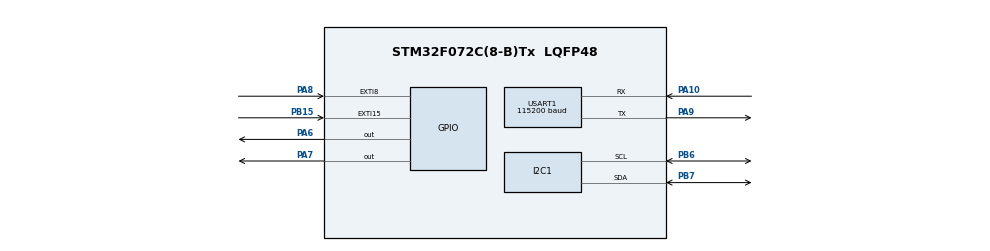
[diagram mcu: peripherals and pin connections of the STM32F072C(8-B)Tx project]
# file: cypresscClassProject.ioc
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I2C1.Timing=0x00201D2B
Mcu.Family=STM32F0
Mcu.Name=STM32F072C(8-B)Tx
Mcu.Package=LQFP48
NVIC.EXTI4_15_IRQn=true\:0\:0\:false\:false\:true\:true\:true\:true
NVIC.TIM2_IRQn=true\:0\:0\:false\:false\:true\:true\:true\:true
NVIC.USART1_IRQn=true\:0\:0\:false\:false\:true\:true\:true\:true
PA10.Mode=Asynchronous
PA10.Signal=USART1_RX
PA6.Signal=GPIO_Output
PA7.Signal=GPIO_Output
PA8.Signal=GPXTI8
PA9.Mode=Asynchronous
PA9.Signal=USART1_TX
PB15.Signal=GPXTI15
PB6.Mode=I2C
PB6.Signal=I2C1_SCL
PB7.Mode=I2C
PB7.Signal=I2C1_SDA
ProjectManager.HeapSize=0x200
ProjectManager.StackSize=0x400
ProjectManager.TargetToolchain=Makefile
TIM2.Period=500
TIM2.Prescaler=2000-1
USART1.BaudRate=115200
USART1.VirtualMode-Asynchronous=VM_ASYNC
VP_TIM2_VS_ClockSourceINT.Mode=Internal
board=custom

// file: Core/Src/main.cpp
/* USER CODE BEGIN Header */
/**
 ******************************************************************************
 * @file           : main.c
 * @brief          : Main program body
 ******************************************************************************
 * @attention
 *
 * Copyright (c) 2024 STMicroelectronics.
 * All rights reserved.
 *
 * This software is licensed under terms that can be found in the LICENSE file
 * in the root directory of this software component.
 * If no LICENSE file comes with this software, it is provided AS-IS.
 *
 ******************************************************************************
 */
/* USER CODE END Header */
#include "main.h"
#include "i2c.h"
#include "tim.h"
#include "usart.h"
#include "gpio.h"

/* USER CODE BEGIN Includes */
#include <stdio.h>
#include <stdlib.h>
#include <string.h>

// Redirect output
#define REDIRECT_OUTPUT
#include "rom.h"
#include "settings.h"
#include "gpioPlus.h"
#include "event.h"

/* USER CODE END Includes */

/* USER CODE BEGIN PV */
AT24C08C eeprom(&hi2c1, 0x50); // EEPROM

#define RX_BUFFER_SIZE 256                 // Ring buffer size
volatile uint8_t rxBuffer[RX_BUFFER_SIZE]; // Circular buffer
volatile uint16_t rxHead = 0;              // Write pointer
volatile uint16_t rxTail = 0;              // Read pointer

volatile bool dataReceivedFlag = false; // Data reception flag

Gpio led5(GPIOA, GPIO_PIN_6), // PA6
    led6(GPIOA, GPIO_PIN_7);  // PA7

volatile uint8_t mode = 0;
uint8_t lastMode = 0;

extern "C"
{
  /// @brief 100ms callback
  extern Event<> milliseconds_100;
}

/* USER CODE END PV */

void SystemClock_Config(void);
/* USER CODE BEGIN PFP */
void StartUARTReceive();
void ProcessReceivedData(uint8_t data);
/* USER CODE END PFP */

/* USER CODE BEGIN 0 */
void ledclear()
{
  led5.off();
  led6.off();
}

void ledModeSwitch(uint8_t mode)
{
  ledclear();
  // printf("模式切换: %d\n", mode);
  switch (mode)
  {
  case 1:
    led5.on();
    milliseconds_100.registerCallback([]()
                                      {
      led5.toggle();
      led6.toggle(); });
    break;
  case 2:
    milliseconds_100.registerCallback([]()
                                      {
      led5.toggle();
      led6.toggle(); });
    break;

  default:
    printf("The model does not exist\n");
    ledclear();
    return;
    break;
  }
  printf("Mode%d activated\n", mode);
}
/* USER CODE END 0 */

int main(void)
{

  /* MCU Configuration--------------------------------------------------------*/

  /* Reset of all peripherals, Initializes the Flash interface and the Systick. */
  HAL_Init();

  /* Configure the system clock */
  SystemClock_Config();

  /* Initialize all configured peripherals */
  MX_GPIO_Init();
  MX_I2C1_Init();
  MX_USART1_UART_Init();
  MX_TIM2_Init();
  /* USER CODE BEGIN 2 */
  StartUARTReceive();
  HAL_TIM_Base_Start_IT(&htim2);
  /* USER CODE END 2 */

  /* Infinite loop */
  /* USER CODE BEGIN WHILE */
  ledclear();
  printf("Initialization complete\n");
  while (1)
  {
    /* USER CODE END WHILE */

    /* USER CODE BEGIN 3 */

    // Serial port data processing
    if (dataReceivedFlag)
    {
      dataReceivedFlag = false;
      // Processing the received data
      while (rxTail != rxHead)
      {
        uint8_t data = rxBuffer[rxTail];
        rxTail = (rxTail + 1) % RX_BUFFER_SIZE;
        ProcessReceivedData(data);
      }
    }

    //LED mode switching
    if (lastMode != mode)
    {
      ledModeSwitch(mode);
      lastMode = mode;
    }
  }
  /* USER CODE END 3 */
}

void SystemClock_Config(void)
{
  RCC_OscInitTypeDef RCC_OscInitStruct = {0};
  RCC_ClkInitTypeDef RCC_ClkInitStruct = {0};
  RCC_PeriphCLKInitTypeDef PeriphClkInit = {0};

  /** Initializes the RCC Oscillators according to the specified parameters
   * in the RCC_OscInitTypeDef structure.
   */
  RCC_OscInitStruct.OscillatorType = RCC_OSCILLATORTYPE_HSI;
  RCC_OscInitStruct.HSIState = RCC_HSI_ON;
  RCC_OscInitStruct.HSICalibrationValue = RCC_HSICALIBRATION_DEFAULT;
  RCC_OscInitStruct.PLL.PLLState = RCC_PLL_NONE;
  if (HAL_RCC_OscConfig(&RCC_OscInitStruct) != HAL_OK)
  {
    Error_Handler();
  }

  /** Initializes the CPU, AHB and APB buses clocks
   */
  RCC_ClkInitStruct.ClockType = RCC_CLOCKTYPE_HCLK | RCC_CLOCKTYPE_SYSCLK | RCC_CLOCKTYPE_PCLK1;
  RCC_ClkInitStruct.SYSCLKSource = RCC_SYSCLKSOURCE_HSI;
  RCC_ClkInitStruct.AHBCLKDivider = RCC_SYSCLK_DIV1;
  RCC_ClkInitStruct.APB1CLKDivider = RCC_HCLK_DIV1;

  if (HAL_RCC_ClockConfig(&RCC_ClkInitStruct, FLASH_LATENCY_0) != HAL_OK)
  {
    Error_Handler();
  }
  PeriphClkInit.PeriphClockSelection = RCC_PERIPHCLK_USART1 | RCC_PERIPHCLK_I2C1;
  PeriphClkInit.Usart1ClockSelection = RCC_USART1CLKSOURCE_PCLK1;
  PeriphClkInit.I2c1ClockSelection = RCC_I2C1CLKSOURCE_HSI;
  if (HAL_RCCEx_PeriphCLKConfig(&PeriphClkInit) != HAL_OK)
  {
    Error_Handler();
  }
}
/* USER CODE BEGIN 4 */
/// @brief Processing received data
void ProcessReceivedData(uint8_t data)
{
  static uint8_t tempSerialData[RX_BUFFER_SIZE];
  static uint16_t tempSerialDataIndex = 0;

  tempSerialData[tempSerialDataIndex] = data;
  tempSerialDataIndex++;
  if (data == 0x21) // '!' End marker
  {
    tempSerialData[tempSerialDataIndex - 1] = 0;
    tempSerialDataIndex = 0;
    printf("input command: %s\n", tempSerialData);
    char *p;
    if ((p = strstr((char *)tempSerialData, "mode")) != NULL)
    {
      printf("Parameters: %c\n", p[4]);
      mode = p[4] - 48;
    }
    else if ((p = strstr((char *)tempSerialData, "w 0xb")) != NULL)
    {
      unsigned int addr = 0, data = 0;

      if (sscanf(p + 5, "%2x%2x", &addr, &data) == 2)
      {
        printf("Write data: Address 0x%x Data 0x%x\n", addr, data);
        if (eeprom.writeByte(addr, data) != HAL_ERROR)
          printf("OK\n");
        else
          printf("FAIL\n");
      }
      else
        printf("Parsing Failed: Incorrect Input Format\n");
    }
    else if ((p = strstr((char *)tempSerialData, "r 0xb")) != NULL)
    {
      unsigned int addr = 0;
      uint8_t data;

      if (sscanf(p + 5, "%2x", &addr) == 1)
      {
        if (eeprom.readByte(addr, data) != HAL_ERROR)
        {
          printf("Read data: Address 0x%x Data 0x%x\n", addr, data);
          printf("OK\n");
        }
        else
          printf("FAIL\n");
      }
      else
        printf("Parsing Failed: Incorrect Input Format\n");
    }
    else
    {
      printf("Unknown command\n");
    }
  }

  if (tempSerialDataIndex >= RX_BUFFER_SIZE)
  {
    tempSerialDataIndex = 0;
  }
}

void StartUARTReceive(void)
{
  if (HAL_UART_Receive_IT(&huart1, (uint8_t *)&rxBuffer[rxHead], 1) != HAL_OK)
  {
    Error_Handler();
  }
}

/// @brief Serial port receive interrupt callback function
/// @param huart
void HAL_UART_RxCpltCallback(UART_HandleTypeDef *huart)
{
  if (huart->Instance == USART1)
  {
    rxHead = (rxHead + 1) % RX_BUFFER_SIZE;

    // Buffer overflow
    if (rxHead == rxTail)
    {
      rxTail = (rxTail + 1) % RX_BUFFER_SIZE; // Overlay data
    }

    dataReceivedFlag = true;

    // Receive the next byte
    HAL_UART_Receive_IT(huart, (uint8_t *)&rxBuffer[rxHead], 1);
  }
}

/// @brief IO interrupt callback function
/// @param GPIO_Pin
void HAL_GPIO_EXTI_Callback(uint16_t GPIO_Pin)
{
  if (GPIO_Pin == GPIO_PIN_8)
  {
    mode = 2;
  }
  if (GPIO_Pin == GPIO_PIN_15)
  {
    mode = 1;
  }
}
/* USER CODE END 4 */

void Error_Handler(void)
{
  __disable_irq();
  while (1)
  {
  }
}
